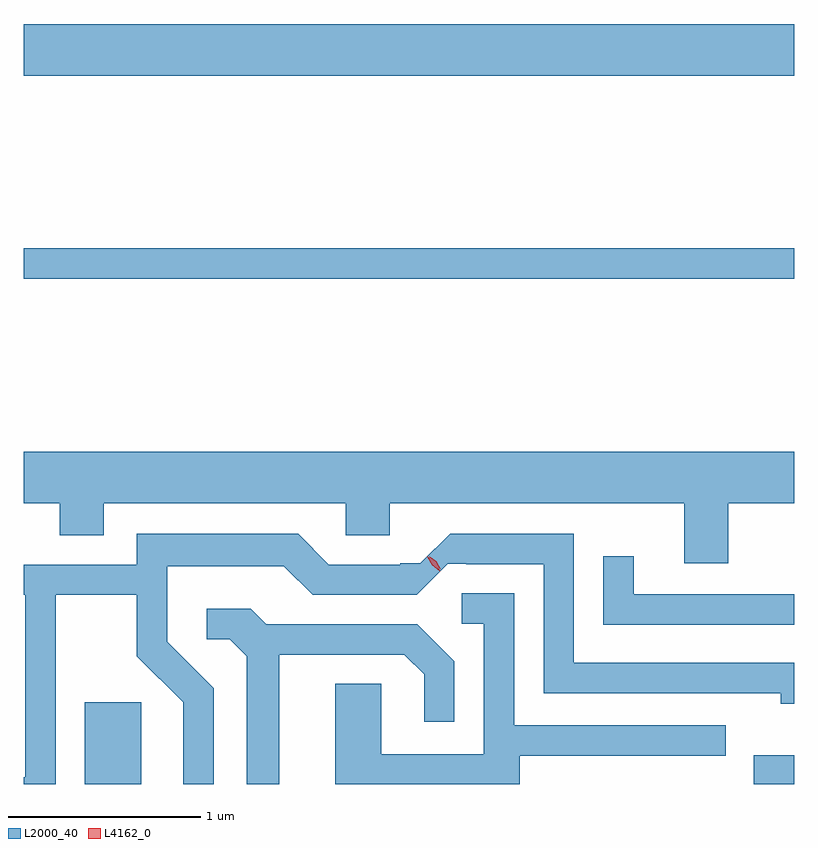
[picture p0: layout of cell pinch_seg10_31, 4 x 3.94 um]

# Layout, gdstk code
import gdstk
lib = gdstk.Library(unit=1e-6, precision=1e-09)
def R(c, l, rs):  # rectangles x0, y0, x1, y1
    for r in rs: c.add(gdstk.rectangle(r[:2], r[2:], *l))
def P(c, l, *ps):  # polygons
    for p in ps: c.add(gdstk.Polygon(p, *l))
L2000_40 = (2000, 40)
L4162_0 = (4162, 0)

pinch_seg10_31 = lib.new_cell('pinch_seg10_31')
R(pinch_seg10_31, L2000_40, [(598.181,2205.7,598.474,2206.124), (601.651,2205.7,601.863,2205.849), (597.863,2208.321,601.863,2208.479), (597.863,2209.376,601.863,2209.644)])
P(pinch_seg10_31, L2000_40, [(601.519,2207.156),(601.863,2207.156),(601.863,2207.424),(597.863,2207.424),(597.863,2207.156),(598.051,2207.156),(598.051,2206.991),(598.279,2206.991),(598.279,2207.156),(599.536,2207.156),(599.536,2206.991),(599.764,2206.991),(599.764,2207.156),(601.291,2207.156),(601.291,2206.846),(601.519,2206.846)],
  [(598.029,2206.681),(598.451,2206.681),(598.451,2206.364),(598.691,2206.124),(598.691,2205.7),(598.849,2205.7),(598.849,2206.197),(598.609,2206.437),(598.609,2206.831),(599.214,2206.831),(599.364,2206.681),(599.902,2206.681),(600.065,2206.844),(600.16,2206.844),(600.16,2206.841),(600.561,2206.841),(600.561,2206.171),(601.791,2206.171),(601.791,2206.116),(601.863,2206.116),(601.863,2206.329),(600.719,2206.329),(600.719,2206.999),(600.076,2206.999),(599.922,2206.845),(599.817,2206.845),(599.817,2206.839),(599.447,2206.839),(599.287,2206.999),(598.451,2206.999),(598.451,2206.839),(597.863,2206.839),(597.863,2206.681),(597.871,2206.681),(597.871,2205.734),(597.863,2205.734),(597.863,2205.7),(598.029,2205.7)],
  [(601.863,2206.684),(601.029,2206.684),(601.029,2206.883),(600.871,2206.883),(600.871,2206.526),(601.863,2206.526)],
  [(600.439,2205.846),(601.508,2205.846),(601.508,2206.004),(600.409,2206.004),(600.409,2206.689),(600.138,2206.689),(600.138,2206.531),(600.251,2206.531),(600.251,2205.854),(599.719,2205.854),(599.719,2206.219),(599.481,2206.219),(599.481,2205.7),(600.439,2205.7)],
  [(599.189,2206.371),(599.839,2206.371),(599.941,2206.269),(599.941,2206.023),(600.099,2206.023),(600.099,2206.337),(599.907,2206.529),(599.122,2206.529),(599.042,2206.609),(598.813,2206.609),(598.813,2206.451),(598.934,2206.451),(599.021,2206.364),(599.021,2205.7),(599.189,2205.7)])
P(pinch_seg10_31, L4162_0, [(600.023,2206.803),(599.983,2206.836),(599.958,2206.88),(599.958,2206.881),(599.959,2206.881),(599.998,2206.848),(600.024,2206.804),(600.024,2206.803)],
  [(600.027,2206.814),(599.99,2206.841),(599.968,2206.882),(599.968,2206.882),(599.968,2206.882),(600.005,2206.855),(600.028,2206.814),(600.028,2206.814)])

lib.write_gds('pinch_seg10_31.gds')
